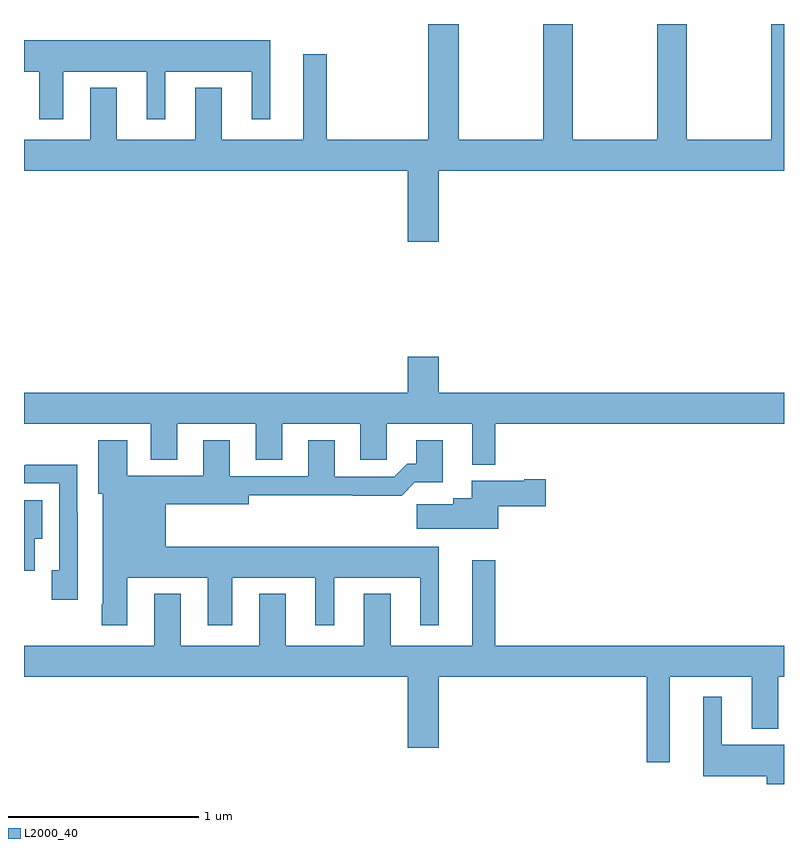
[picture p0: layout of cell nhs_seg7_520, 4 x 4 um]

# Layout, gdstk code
import gdstk
lib = gdstk.Library(unit=1e-6, precision=1e-09)
def P(c, l, *ps):  # polygons
    for p in ps: c.add(gdstk.Polygon(p, *l))
L2000_40 = (2000, 40)

nhs_seg7_520 = lib.new_cell('nhs_seg7_520')
P(nhs_seg7_520, L2000_40, [(153.184,1055.228),(155,1055.228),(155,1056),(154.933,1056),(154.933,1055.392),(154.488,1055.392),(154.488,1056),(154.333,1056),(154.333,1055.392),(153.888,1055.392),(153.888,1056),(153.733,1056),(153.733,1055.392),(153.288,1055.392),(153.288,1056),(153.128,1056),(153.128,1055.392),(152.593,1055.392),(152.593,1055.842),(152.471,1055.842),(152.471,1055.392),(152.041,1055.392),(152.041,1055.665),(151.901,1055.665),(151.901,1055.392),(151.489,1055.392),(151.489,1055.665),(151.349,1055.665),(151.349,1055.392),(151,1055.392),(151,1055.228),(153.02,1055.228),(153.02,1054.854),(153.184,1054.854)],
  [(151.207,1055.75),(151.646,1055.75),(151.646,1055.499),(151.744,1055.499),(151.744,1055.75),(152.198,1055.75),(152.198,1055.499),(152.296,1055.499),(152.296,1055.914),(151,1055.914),(151,1055.75),(151.079,1055.75),(151.079,1055.499),(151.207,1055.499)],
  [(153.481,1053.896),(155,1053.896),(155,1054.06),(153.184,1054.06),(153.184,1054.249),(153.02,1054.249),(153.02,1054.06),(151,1054.06),(151,1053.896),(151.667,1053.896),(151.667,1053.707),(151.807,1053.707),(151.807,1053.896),(152.219,1053.896),(152.219,1053.706),(152.359,1053.706),(152.359,1053.896),(152.771,1053.896),(152.771,1053.706),(152.91,1053.706),(152.91,1053.896),(153.359,1053.896),(153.359,1053.68),(153.481,1053.68)],
  [(151.543,1053.086),(151.967,1053.086),(151.967,1052.835),(152.095,1052.835),(152.095,1053.086),(152.534,1053.086),(152.534,1052.835),(152.632,1052.835),(152.632,1053.086),(153.086,1053.086),(153.086,1052.835),(153.184,1052.835),(153.184,1053.25),(151.747,1053.25),(151.747,1053.473),(152.182,1053.473),(152.182,1053.52),(152.731,1053.52),(152.731,1053.518),(152.987,1053.518),(153.056,1053.587),(153.205,1053.587),(153.205,1053.808),(153.065,1053.808),(153.065,1053.685),(153.016,1053.685),(152.949,1053.618),(152.635,1053.618),(152.635,1053.808),(152.495,1053.808),(152.495,1053.621),(152.083,1053.621),(152.083,1053.808),(151.943,1053.808),(151.943,1053.622),(151.543,1053.622),(151.543,1053.808),(151.391,1053.808),(151.391,1053.528),(151.415,1053.528),(151.415,1052.947),(151.408,1052.947),(151.408,1052.835),(151.543,1052.835)],
  [(151.282,1053.428),(151.281,1053.428),(151.281,1053.68),(151.009,1053.68),(151.009,1053.678),(151,1053.678),(151,1053.582),(151.185,1053.582),(151.185,1053.126),(151.145,1053.126),(151.145,1052.97),(151.282,1052.97)],
  [(153.496,1053.461),(153.745,1053.461),(153.745,1053.603),(153.632,1053.603),(153.632,1053.595),(153.356,1053.595),(153.356,1053.505),(153.26,1053.505),(153.26,1053.473),(153.066,1053.473),(153.066,1053.344),(153.496,1053.344)],
  [(151.057,1053.29),(151.096,1053.29),(151.096,1053.493),(151,1053.493),(151,1053.122),(151.057,1053.122)],
  [(154.399,1052.564),(154.829,1052.564),(154.829,1052.291),(154.969,1052.291),(154.969,1052.564),(155,1052.564),(155,1052.728),(153.481,1052.728),(153.481,1053.178),(153.359,1053.178),(153.359,1052.728),(152.929,1052.728),(152.929,1053.001),(152.789,1053.001),(152.789,1052.728),(152.377,1052.728),(152.377,1053.001),(152.237,1053.001),(152.237,1052.728),(151.825,1052.728),(151.825,1053.001),(151.685,1053.001),(151.685,1052.728),(151,1052.728),(151,1052.564),(153.02,1052.564),(153.02,1052.19),(153.184,1052.19),(153.184,1052.564),(154.278,1052.564),(154.278,1052.115),(154.399,1052.115)],
  [(155,1052.206),(154.672,1052.206),(154.672,1052.458),(154.574,1052.458),(154.574,1052.042),(154.91,1052.042),(154.91,1052),(155,1052)])

lib.write_gds('nhs_seg7_520.gds')
